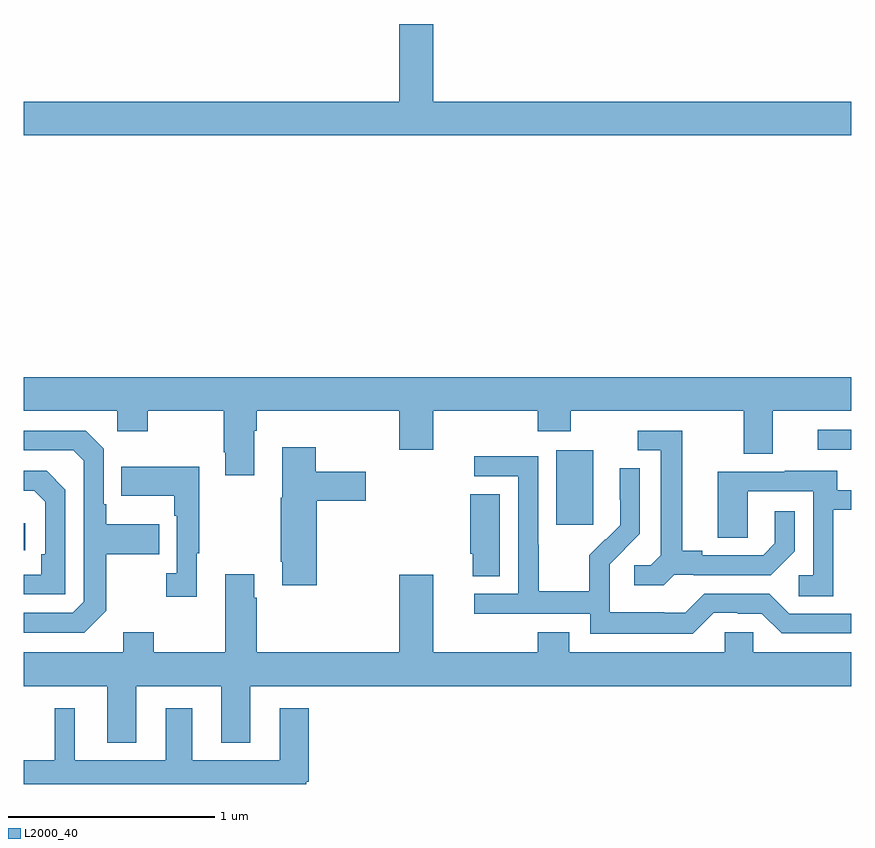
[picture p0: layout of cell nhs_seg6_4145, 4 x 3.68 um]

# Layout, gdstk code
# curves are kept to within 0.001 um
import gdstk
lib = gdstk.Library(unit=1e-6, precision=1e-09)
def R(c, l, rs):  # rectangles x0, y0, x1, y1
    for r in rs: c.add(gdstk.rectangle(r[:2], r[2:], *l))
def P(c, l, *ps):  # polygons
    for p in ps: c.add(gdstk.Polygon(p, *l))
L2000_40 = (2000, 40)

nhs_seg6_4145 = lib.new_cell('nhs_seg6_4145')
R(nhs_seg6_4145, L2000_40, [(355,978.63,355.006,978.76), (357.575,978.753,357.754,979.114), (358.839,979.116,359,979.212)])
P(nhs_seg6_4145, L2000_40, [(359,980.8),(356.98,980.8),(356.98,981.175),(356.816,981.175),(356.816,980.8),(355,980.8),(355,980.636),(359,980.636)],
  [(355,979.304),(355.452,979.304),(355.452,979.205),(355.599,979.205),(355.599,979.304),(355.966,979.304),(355.966,979.105),(355.973,979.105),(355.973,978.993),(356.113,978.993),(356.113,979.208),(356.126,979.208),(356.126,979.304),(356.816,979.304),(356.816,979.116),(356.98,979.116),(356.98,979.304),(357.485,979.304),(357.485,979.205),(357.645,979.205),(357.645,979.304),(358.481,979.304),(358.481,979.096),(358.621,979.096),(358.621,979.304),(359,979.304),(359,979.468),(355,979.468)],
  [(358.146,978.513),(358.24,978.513),(358.24,978.51),(358.612,978.51),(358.728,978.626),(358.728,978.82),(358.631,978.82),(358.631,978.663),(358.574,978.606),(358.279,978.606),(358.279,978.629),(358.183,978.629),(358.183,979.209),(357.969,979.209),(357.969,979.113),(358.079,979.113),(358.079,978.605),(358.032,978.558),(357.951,978.558),(357.951,978.461),(358.094,978.461)],
  [(355.399,978.337),(355.399,978.61),(355.655,978.61),(355.655,978.757),(355.399,978.757),(355.399,978.853),(355.386,978.853),(355.386,979.122),(355.299,979.209),(355,979.209),(355,979.113),(355.239,979.113),(355.29,979.062),(355.29,978.381),(355.236,978.327),(355,978.327),(355,978.231),(355.293,978.231)],
  [(356.417,978.869),(356.653,978.869),(356.653,979.011),(356.412,979.011),(356.412,979.129),(356.249,979.129),(356.249,978.885),(356.242,978.885),(356.242,978.574),(356.249,978.574),(356.249,978.462),(356.417,978.462)],
  [(358.335,978.327),(358.451,978.327),(358.451,978.324),(358.569,978.324),(358.665,978.228),(359,978.228),(359,978.324),(358.701,978.324),(358.605,978.42),(358.29,978.42),(358.197,978.327),(358.097,978.327),(358.097,978.331),(357.834,978.331),(357.834,978.465),(357.832,978.465),(357.832,978.562),(357.978,978.71),(357.978,979.028),(357.882,979.028),(357.882,978.874),(357.884,978.874),(357.884,978.752),(357.813,978.681),(357.81,978.684),(357.733,978.607),(357.733,978.433),(357.489,978.433),(357.489,978.656),(357.486,978.656),(357.486,979.086),(357.177,979.086),(357.177,978.987),(357.39,978.987),(357.39,978.42),(357.177,978.42),(357.177,978.324),(357.738,978.324),(357.738,978.227),(358.235,978.227)],
  [(355.837,978.617),(355.849,978.617),(355.849,979.033),(355.471,979.033),(355.471,978.893),(355.728,978.893),(355.728,978.797),(355.74,978.797),(355.74,978.518),(355.689,978.518),(355.689,978.405),(355.837,978.405)],
  [(358.914,978.825),(359,978.825),(359,978.921),(358.933,978.921),(358.933,979.015),(358.679,979.015),(358.679,979.011),(358.355,979.011),(358.355,978.691),(358.5,978.691),(358.5,978.915),(358.818,978.915),(358.818,978.51),(358.746,978.51),(358.746,978.409),(358.914,978.409)],
  [(355.2,978.924),(355.11,979.014),(355,979.014),(355,978.917),(355.051,978.917),(355.104,978.864),(355.104,978.61),(355.084,978.61),(355.084,978.513),(355,978.513),(355,978.417),(355.2,978.417)],
  [(357.301,978.902),(357.158,978.902),(357.158,978.613),(357.17,978.613),(357.17,978.505),(357.301,978.505)],
  [(359,978.136),(358.527,978.136),(358.527,978.234),(358.389,978.234),(358.389,978.136),(357.637,978.136),(357.637,978.235),(357.485,978.235),(357.485,978.136),(356.98,978.136),(356.98,978.511),(356.816,978.511),(356.816,978.136),(356.126,978.136),(356.126,978.401),(356.113,978.401),(356.113,978.514),(355.973,978.514),(355.973,978.136),(355.629,978.136),(355.629,978.235),(355.481,978.235),(355.481,978.136),(355,978.136),(355,977.972),(355.403,977.972),(355.403,977.699),(355.543,977.699),(355.543,977.972),(355.955,977.972),(355.955,977.699),(356.095,977.699),(356.095,977.972),(359,977.972)],
  [(356.365,977.51),(356.378,977.51),(356.378,977.866),(356.237,977.866),(356.237,977.614),(355.813,977.614),(355.813,977.866),(355.685,977.866),(355.685,977.614),(355.246,977.614),(355.246,977.866),(355.148,977.866),(355.148,977.614),(355,977.614),(355,977.5),(356.365,977.5)])

lib.write_gds('nhs_seg6_4145.gds')
